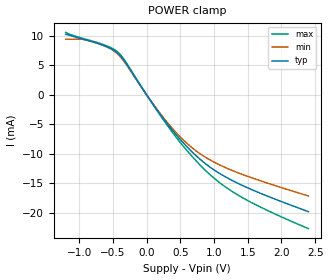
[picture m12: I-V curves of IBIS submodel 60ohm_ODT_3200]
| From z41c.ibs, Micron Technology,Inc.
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| SUBMODEL 60ohm_ODT_3200
[Submodel]   60ohm_ODT_3200
Submodel_type  Dynamic_clamp
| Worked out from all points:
|   POWER clamp passes 1 mA (typ) near -0.06 V on its own axis
[POWER Clamp]
|   Voltage   I(typ)   I(min)   I(max)
-1.2V     10.3mA     9.452mA    10.61mA
-805mV    9.018mA    9.04mA     9.141mA
-555mV    8mA        7.943mA    8.147mA
-410mV    6.873mA    6.712mA    7.076mA
-320mV    5.599mA    5.446mA    5.792mA
90mV      -1.507mA   -1.449mA   -1.573mA
350mV     -5.549mA   -5.295mA   -5.868mA
595mV     -8.784mA   -8.208mA   -9.434mA
820mV     -11.21mA   -10.23mA   -12.25mA
1.11V     -13.55mA   -12.06mA   -15.17mA
1.365V    -15.1mA    -13.29mA   -17.1mA
2.4V      -19.86mA   -17.19mA   -22.75mA
